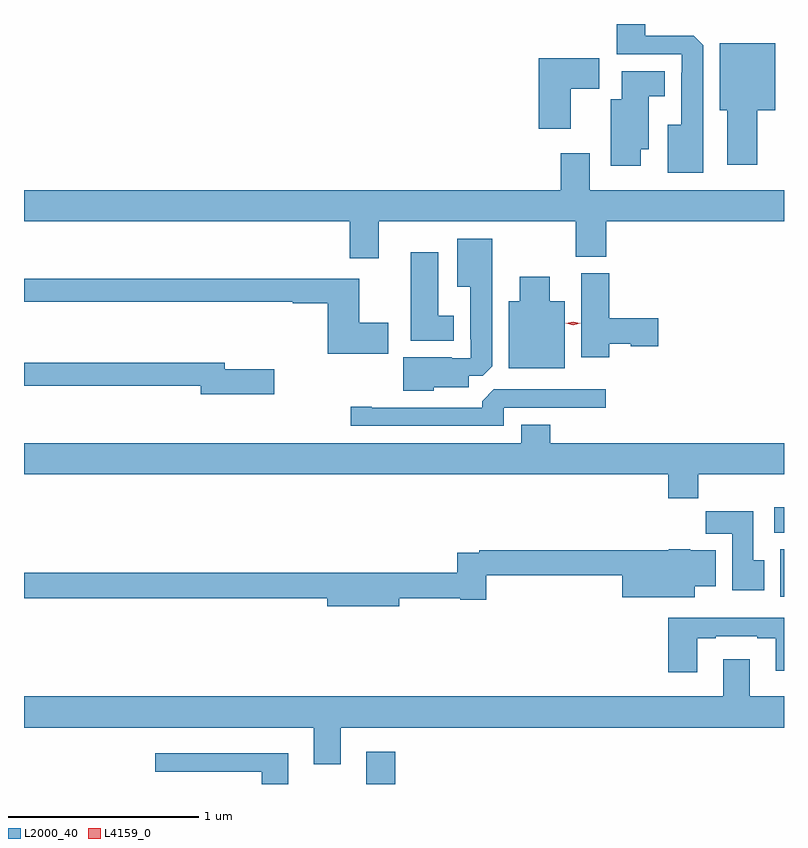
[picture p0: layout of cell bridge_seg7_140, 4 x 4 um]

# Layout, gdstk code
import gdstk
lib = gdstk.Library(unit=1e-6, precision=1e-09)
def R(c, l, rs):  # rectangles x0, y0, x1, y1
    for r in rs: c.add(gdstk.rectangle(r[:2], r[2:], *l))
def P(c, l, *ps):  # polygons
    for p in ps: c.add(gdstk.Polygon(p, *l))
L2000_40 = (2000, 40)
L4159_0 = (4159, 0)

bridge_seg7_140 = lib.new_cell('bridge_seg7_140')
R(bridge_seg7_140, L2000_40, [(719.219,1038.947,719.372,1039.117), (721.397,1039.932,721.417,1040.182), (721.365,1040.27,721.417,1040.404)])
P(bridge_seg7_140, L2000_40, [(720.991,1042.835),(720.942,1042.884),(720.688,1042.884),(720.688,1042.947),(720.536,1042.947),(720.536,1042.788),(720.879,1042.788),(720.879,1042.691),(720.875,1042.691),(720.875,1042.417),(720.806,1042.417),(720.806,1042.163),(720.991,1042.163)],
  [(721.276,1042.493),(721.372,1042.493),(721.372,1042.846),(721.079,1042.846),(721.079,1042.493),(721.118,1042.493),(721.118,1042.206),(721.276,1042.206)],
  [(720.295,1042.606),(720.445,1042.606),(720.445,1042.768),(720.125,1042.768),(720.125,1042.395),(720.295,1042.395)],
  [(720.664,1042.289),(720.706,1042.289),(720.706,1042.568),(720.79,1042.568),(720.79,1042.699),(720.563,1042.699),(720.563,1042.552),(720.506,1042.552),(720.506,1042.2),(720.664,1042.2)],
  [(719.284,1041.908),(720.322,1041.908),(720.322,1041.721),(720.482,1041.721),(720.482,1041.908),(721.417,1041.908),(721.417,1042.072),(720.394,1042.072),(720.394,1042.267),(720.242,1042.267),(720.242,1042.072),(717.417,1042.072),(717.417,1041.908),(719.132,1041.908),(719.132,1041.714),(719.284,1041.714)],
  [(719.574,1041.035),(719.758,1041.035),(719.758,1041.096),(719.832,1041.096),(719.881,1041.145),(719.881,1041.817),(719.696,1041.817),(719.696,1041.563),(719.765,1041.563),(719.765,1041.289),(719.769,1041.289),(719.769,1041.189),(719.669,1041.189),(719.669,1041.193),(719.414,1041.193),(719.414,1041.017),(719.574,1041.017)],
  [(719.68,1041.412),(719.596,1041.412),(719.596,1041.745),(719.453,1041.745),(719.453,1041.281),(719.68,1041.281)],
  [(720.497,1041.263),(720.611,1041.263),(720.611,1041.251),(720.754,1041.251),(720.754,1041.398),(720.497,1041.398),(720.497,1041.636),(720.35,1041.636),(720.35,1041.192),(720.497,1041.192)],
  [(720.262,1041.487),(720.184,1041.487),(720.184,1041.616),(720.026,1041.616),(720.026,1041.487),(719.969,1041.487),(719.969,1041.134),(720.262,1041.134)],
  [(719.335,1041.375),(719.182,1041.375),(719.182,1041.607),(717.417,1041.607),(717.417,1041.486),(718.831,1041.486),(718.831,1041.478),(719.015,1041.478),(719.015,1041.212),(719.335,1041.212)],
  [(718.735,1041.129),(718.474,1041.129),(718.474,1041.163),(717.417,1041.163),(717.417,1041.042),(718.346,1041.042),(718.346,1040.999),(718.735,1040.999)],
  [(719.943,1040.928),(720.478,1040.928),(720.478,1041.024),(719.889,1041.024),(719.828,1040.962),(719.828,1040.928),(719.248,1040.928),(719.248,1040.933),(719.136,1040.933),(719.136,1040.832),(719.943,1040.832)],
  [(720.965,1040.576),(721.417,1040.576),(721.417,1040.74),(720.188,1040.74),(720.188,1040.839),(720.035,1040.839),(720.035,1040.74),(717.417,1040.74),(717.417,1040.576),(720.809,1040.576),(720.809,1040.452),(720.965,1040.452)],
  [(721.312,1040.124),(721.255,1040.124),(721.255,1040.382),(721.006,1040.382),(721.006,1040.264),(721.145,1040.264),(721.145,1039.968),(721.312,1039.968)],
  [(719.392,1039.924),(719.712,1039.924),(719.712,1039.916),(719.849,1039.916),(719.849,1040.047),(720.566,1040.047),(720.566,1039.931),(720.946,1039.931),(720.946,1039.988),(721.057,1039.988),(721.057,1040.176),(720.924,1040.176),(720.924,1040.182),(720.81,1040.182),(720.81,1040.176),(719.812,1040.176),(719.812,1040.163),(719.696,1040.163),(719.696,1040.06),(717.417,1040.06),(717.417,1039.924),(719.012,1039.924),(719.012,1039.882),(719.392,1039.882)],
  [(720.961,1039.713),(721.057,1039.713),(721.057,1039.725),(721.277,1039.725),(721.277,1039.713),(721.373,1039.713),(721.373,1039.544),(721.417,1039.544),(721.417,1039.822),(720.809,1039.822),(720.809,1039.536),(720.961,1039.536)],
  [(721.417,1039.408),(721.237,1039.408),(721.237,1039.603),(721.097,1039.603),(721.097,1039.408),(717.417,1039.408),(717.417,1039.244),(718.943,1039.244),(718.943,1039.05),(719.083,1039.05),(719.083,1039.244),(721.417,1039.244)],
  [(718.807,1039.108),(718.107,1039.108),(718.107,1039.011),(718.667,1039.011),(718.667,1038.947),(718.807,1038.947)])
P(bridge_seg7_140, L4159_0, [(720.307,1041.361),(720.269,1041.371),(720.269,1041.371),(720.269,1041.371),(720.307,1041.381),(720.344,1041.372),(720.345,1041.372),(720.344,1041.372)])

lib.write_gds('bridge_seg7_140.gds')
